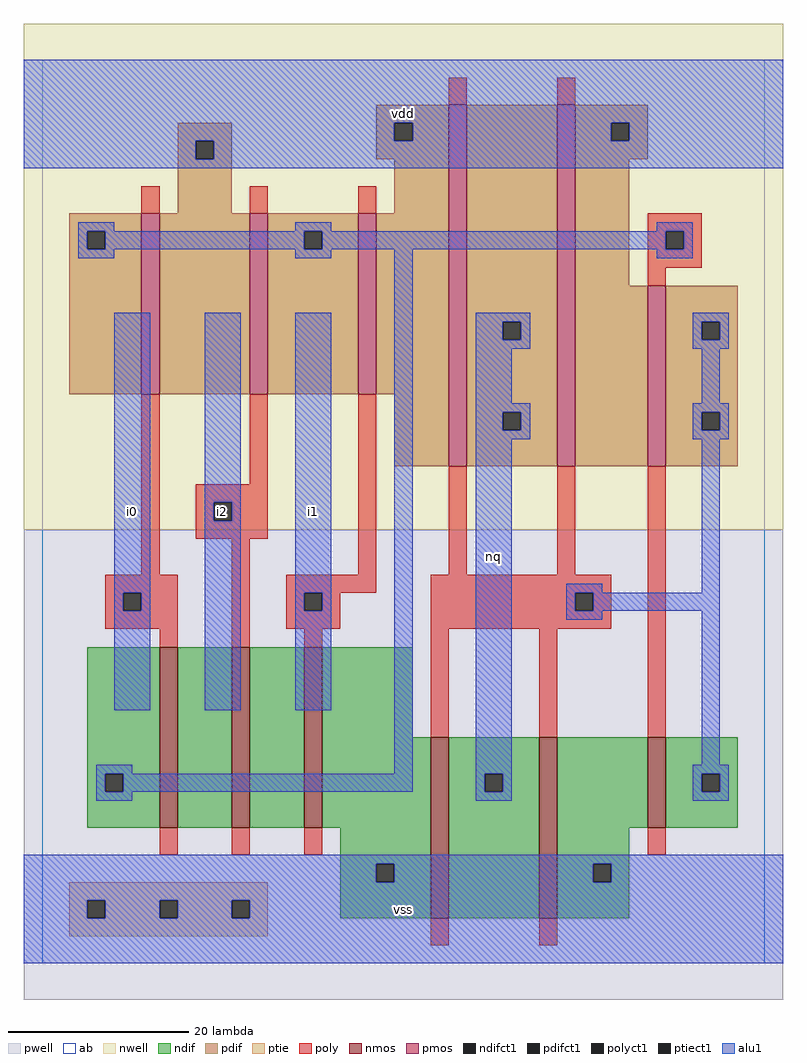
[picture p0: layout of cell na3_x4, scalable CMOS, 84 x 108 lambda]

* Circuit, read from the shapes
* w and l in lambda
.subckt na3_x4 i0 i1 i2 nq vdd vss
M1 n1 i0 n2 vss nfet w=20 l=2
M2 n3 i2 n1 vss nfet w=20 l=2
M3 vss i1 n3 vss nfet w=20 l=2
M4 nq n4 vss vss nfet w=20 l=2 m=2
M5 n4 n2 vss vss nfet w=10 l=2
M6 vdd i0 n2 n5 pfet w=20 l=2
M7 n2 i2 vdd n5 pfet w=20 l=2
M8 vdd i1 n2 n5 pfet w=20 l=2
M9 nq n4 vdd n5 pfet w=40 l=2 m=2
M10 n4 n2 vdd n5 pfet w=20 l=2
.ends

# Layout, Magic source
magic
tech scmos
<< ab >>
rect 0 0 80 100
<< nwell >>
rect -2 48 82 104
<< pwell >>
rect -2 -4 82 48
<< poly >>
rect 45 95 47 98
rect 57 95 59 98
rect 11 83 13 86
rect 23 83 25 86
rect 35 83 37 86
rect 11 43 13 63
rect 23 53 25 63
rect 17 51 25 53
rect 17 49 19 51
rect 21 49 25 51
rect 17 47 25 49
rect 7 41 15 43
rect 7 39 9 41
rect 11 39 15 41
rect 7 37 15 39
rect 13 35 15 37
rect 21 35 23 47
rect 35 43 37 63
rect 67 81 73 83
rect 67 79 69 81
rect 71 79 73 81
rect 67 77 73 79
rect 67 75 69 77
rect 45 43 47 55
rect 57 43 59 55
rect 27 41 37 43
rect 43 41 63 43
rect 27 39 29 41
rect 31 39 33 41
rect 27 37 33 39
rect 43 39 59 41
rect 61 39 63 41
rect 43 37 63 39
rect 29 35 31 37
rect 43 25 45 37
rect 55 25 57 37
rect 67 25 69 55
rect 13 12 15 15
rect 21 12 23 15
rect 29 12 31 15
rect 67 12 69 15
rect 43 2 45 5
rect 55 2 57 5
<< ndif >>
rect 5 21 13 35
rect 5 19 7 21
rect 9 19 13 21
rect 5 15 13 19
rect 15 15 21 35
rect 23 15 29 35
rect 31 25 41 35
rect 31 15 43 25
rect 33 11 43 15
rect 33 9 37 11
rect 39 9 43 11
rect 33 5 43 9
rect 45 21 55 25
rect 45 19 49 21
rect 51 19 55 21
rect 45 5 55 19
rect 57 15 67 25
rect 69 21 77 25
rect 69 19 73 21
rect 75 19 77 21
rect 69 15 77 19
rect 57 11 65 15
rect 57 9 61 11
rect 63 9 65 11
rect 57 5 65 9
<< pdif >>
rect 37 93 45 95
rect 15 91 21 93
rect 15 89 17 91
rect 19 89 21 91
rect 37 91 39 93
rect 41 91 45 93
rect 37 89 45 91
rect 15 83 21 89
rect 39 83 45 89
rect 3 81 11 83
rect 3 79 5 81
rect 7 79 11 81
rect 3 63 11 79
rect 13 63 23 83
rect 25 81 35 83
rect 25 79 29 81
rect 31 79 35 81
rect 25 63 35 79
rect 37 63 45 83
rect 39 55 45 63
rect 47 71 57 95
rect 47 69 51 71
rect 53 69 57 71
rect 47 61 57 69
rect 47 59 51 61
rect 53 59 57 61
rect 47 55 57 59
rect 59 93 67 95
rect 59 91 63 93
rect 65 91 67 93
rect 59 89 67 91
rect 59 75 65 89
rect 59 55 67 75
rect 69 71 77 75
rect 69 69 73 71
rect 75 69 77 71
rect 69 61 77 69
rect 69 59 73 61
rect 75 59 77 61
rect 69 55 77 59
<< alu1 >>
rect -2 93 82 100
rect -2 91 39 93
rect 41 91 63 93
rect 65 91 82 93
rect -2 89 17 91
rect 19 89 82 91
rect -2 88 82 89
rect 4 81 8 82
rect 28 81 32 82
rect 68 81 72 82
rect 4 79 5 81
rect 7 79 29 81
rect 31 79 69 81
rect 71 79 72 81
rect 4 78 8 79
rect 28 78 32 79
rect 8 41 12 72
rect 8 39 9 41
rect 11 39 12 41
rect 8 28 12 39
rect 18 51 22 72
rect 18 49 19 51
rect 21 49 22 51
rect 18 28 22 49
rect 28 41 32 72
rect 28 39 29 41
rect 31 39 32 41
rect 28 28 32 39
rect 6 21 10 22
rect 39 21 41 79
rect 68 78 72 79
rect 6 19 7 21
rect 9 19 41 21
rect 48 71 54 72
rect 48 69 51 71
rect 53 69 54 71
rect 48 68 54 69
rect 72 71 76 72
rect 72 69 73 71
rect 75 69 76 71
rect 72 68 76 69
rect 48 62 52 68
rect 73 62 75 68
rect 48 61 54 62
rect 48 59 51 61
rect 53 59 54 61
rect 48 58 54 59
rect 72 61 76 62
rect 72 59 73 61
rect 75 59 76 61
rect 72 58 76 59
rect 48 21 52 58
rect 58 41 62 42
rect 73 41 75 58
rect 58 39 59 41
rect 61 39 75 41
rect 58 38 62 39
rect 73 22 75 39
rect 48 19 49 21
rect 51 19 52 21
rect 6 18 10 19
rect 48 18 52 19
rect 72 21 76 22
rect 72 19 73 21
rect 75 19 76 21
rect 72 18 76 19
rect -2 11 82 12
rect -2 9 37 11
rect 39 9 61 11
rect 63 9 82 11
rect -2 7 82 9
rect -2 5 5 7
rect 7 5 13 7
rect 15 5 21 7
rect 23 5 82 7
rect -2 0 82 5
<< ptie >>
rect 3 7 25 9
rect 3 5 5 7
rect 7 5 13 7
rect 15 5 21 7
rect 23 5 25 7
rect 3 3 25 5
<< nmos >>
rect 13 15 15 35
rect 21 15 23 35
rect 29 15 31 35
rect 43 5 45 25
rect 55 5 57 25
rect 67 15 69 25
<< pmos >>
rect 11 63 13 83
rect 23 63 25 83
rect 35 63 37 83
rect 45 55 47 95
rect 57 55 59 95
rect 67 55 69 75
<< polyct1 >>
rect 19 49 21 51
rect 9 39 11 41
rect 69 79 71 81
rect 29 39 31 41
rect 59 39 61 41
<< ndifct1 >>
rect 7 19 9 21
rect 37 9 39 11
rect 49 19 51 21
rect 73 19 75 21
rect 61 9 63 11
<< ptiect1 >>
rect 5 5 7 7
rect 13 5 15 7
rect 21 5 23 7
<< pdifct1 >>
rect 17 89 19 91
rect 39 91 41 93
rect 5 79 7 81
rect 29 79 31 81
rect 51 69 53 71
rect 51 59 53 61
rect 63 91 65 93
rect 73 69 75 71
rect 73 59 75 61
<< labels >>
rlabel alu1 10 50 10 50 6 i0
rlabel alu1 30 50 30 50 6 i1
rlabel polyct1 20 50 20 50 6 i2
rlabel alu1 40 6 40 6 6 vss
rlabel alu1 50 45 50 45 6 nq
rlabel alu1 40 94 40 94 6 vdd
<< end >>
